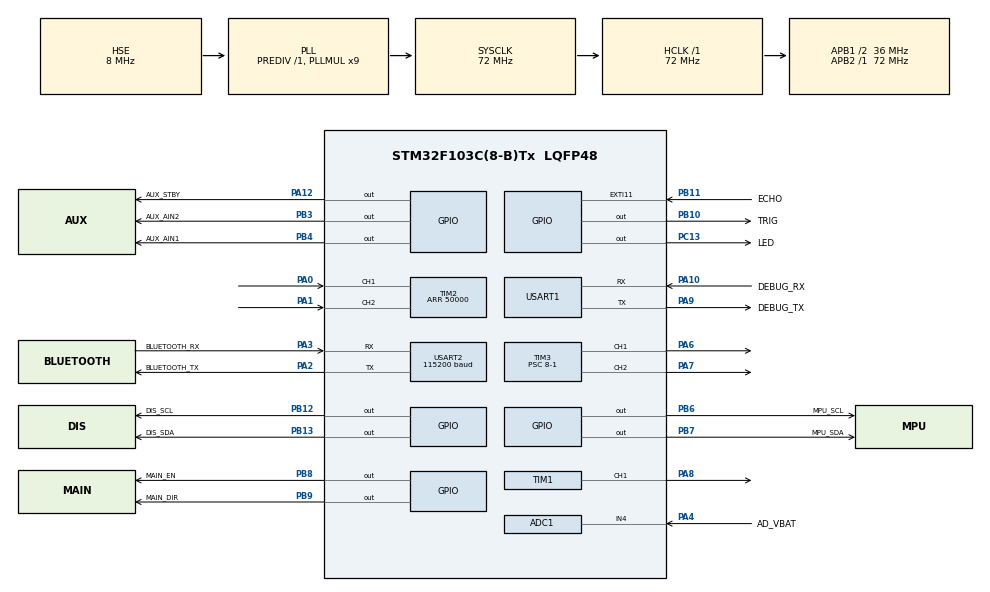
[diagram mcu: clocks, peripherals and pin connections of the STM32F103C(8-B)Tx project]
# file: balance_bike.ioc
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ADC1.Channel-2\#ChannelRegularConversion=ADC_CHANNEL_4
ADC1.ContinuousConvMode=ENABLE
ADC1.NbrOfConversion=1
ADC1.NbrOfConversionFlag=1
ADC1.Rank-2\#ChannelRegularConversion=1
ADC1.SamplingTime-2\#ChannelRegularConversion=ADC_SAMPLETIME_239CYCLES_5
ADC1.master=1
Dma.ADC1.3.Direction=DMA_PERIPH_TO_MEMORY
Dma.ADC1.3.Instance=DMA1_Channel1
Dma.ADC1.3.MemDataAlignment=DMA_MDATAALIGN_HALFWORD
Dma.ADC1.3.MemInc=DMA_MINC_ENABLE
Dma.ADC1.3.Mode=DMA_CIRCULAR
Dma.ADC1.3.PeriphDataAlignment=DMA_PDATAALIGN_HALFWORD
Dma.ADC1.3.PeriphInc=DMA_PINC_DISABLE
Dma.ADC1.3.Priority=DMA_PRIORITY_LOW
Dma.Request0=USART1_TX
Dma.Request1=USART2_TX
Dma.Request2=USART1_RX
Dma.Request3=ADC1
Dma.Request4=USART2_RX
Dma.USART1_RX.2.Direction=DMA_PERIPH_TO_MEMORY
Dma.USART1_RX.2.Instance=DMA1_Channel5
Dma.USART1_RX.2.MemDataAlignment=DMA_MDATAALIGN_BYTE
Dma.USART1_RX.2.MemInc=DMA_MINC_ENABLE
Dma.USART1_RX.2.Mode=DMA_CIRCULAR
Dma.USART1_RX.2.PeriphDataAlignment=DMA_PDATAALIGN_BYTE
Dma.USART1_RX.2.PeriphInc=DMA_PINC_DISABLE
Dma.USART1_RX.2.Priority=DMA_PRIORITY_LOW
Dma.USART1_TX.0.Direction=DMA_MEMORY_TO_PERIPH
Dma.USART1_TX.0.Instance=DMA1_Channel4
Dma.USART1_TX.0.MemDataAlignment=DMA_MDATAALIGN_BYTE
Dma.USART1_TX.0.MemInc=DMA_MINC_ENABLE
Dma.USART1_TX.0.Mode=DMA_NORMAL
Dma.USART1_TX.0.PeriphDataAlignment=DMA_PDATAALIGN_BYTE
Dma.USART1_TX.0.PeriphInc=DMA_PINC_DISABLE
Dma.USART1_TX.0.Priority=DMA_PRIORITY_HIGH
Dma.USART2_RX.4.Direction=DMA_PERIPH_TO_MEMORY
Dma.USART2_RX.4.Instance=DMA1_Channel6
Dma.USART2_RX.4.MemDataAlignment=DMA_MDATAALIGN_BYTE
Dma.USART2_RX.4.MemInc=DMA_MINC_ENABLE
Dma.USART2_RX.4.Mode=DMA_CIRCULAR
Dma.USART2_RX.4.PeriphDataAlignment=DMA_PDATAALIGN_BYTE
Dma.USART2_RX.4.PeriphInc=DMA_PINC_DISABLE
Dma.USART2_RX.4.Priority=DMA_PRIORITY_LOW
Dma.USART2_TX.1.Direction=DMA_MEMORY_TO_PERIPH
Dma.USART2_TX.1.Instance=DMA1_Channel7
Dma.USART2_TX.1.MemDataAlignment=DMA_MDATAALIGN_BYTE
Dma.USART2_TX.1.MemInc=DMA_MINC_ENABLE
Dma.USART2_TX.1.Mode=DMA_NORMAL
Dma.USART2_TX.1.PeriphDataAlignment=DMA_PDATAALIGN_BYTE
Dma.USART2_TX.1.PeriphInc=DMA_PINC_DISABLE
Dma.USART2_TX.1.Priority=DMA_PRIORITY_HIGH
FREERTOS.Queues01=MpuSensorQueue,1,uint32_t,0,Dynamic,NULL,NULL;EncoderQueue,16,uint16_t,0,Dynamic,NULL,NULL
FREERTOS.Tasks01=defaultTask,0,64,StartDefaultTask,Default,NULL,Dynamic,NULL,NULL;SensorSampleTask,2,128,StartSensorSampleTask,Default,NULL,Dynamic,NULL,NULL;ScatteredTask,-1,64,StartScatteredTask,Default,NULL,Dynamic,NULL,NULL;DebugTransferTask,-1,128,StartDebugTransferTask,Default,NULL,Dynamic,NULL,NULL;BluetoothTransferTask,0,128,StartBluetoothTransferTask,Default,NULL,Dynamic,NULL,NULL;ControllerTask,1,64,StartControllerTask,Default,NULL,Dynamic,NULL,NULL
FREERTOS.configMAX_TASK_NAME_LEN=32
FREERTOS.configMINIMAL_STACK_SIZE=64
FREERTOS.configTOTAL_HEAP_SIZE=4096
Mcu.Family=STM32F1
Mcu.Name=STM32F103C(8-B)Tx
Mcu.Package=LQFP48
NVIC.DMA1_Channel1_IRQn=true\:5\:0\:false\:false\:true\:true\:false\:true
NVIC.DMA1_Channel4_IRQn=true\:5\:0\:false\:false\:true\:true\:false\:true
NVIC.DMA1_Channel5_IRQn=true\:5\:0\:true\:false\:true\:true\:false\:true
NVIC.DMA1_Channel6_IRQn=true\:5\:0\:false\:false\:true\:true\:false\:true
NVIC.DMA1_Channel7_IRQn=true\:5\:0\:false\:false\:true\:true\:false\:true
NVIC.EXTI15_10_IRQn=true\:15\:0\:true\:false\:true\:true\:true\:true
NVIC.PriorityGroup=NVIC_PRIORITYGROUP_4
NVIC.TIM4_IRQn=true\:5\:0\:false\:false\:true\:true\:true\:true
NVIC.USART1_IRQn=true\:5\:0\:true\:false\:true\:true\:true\:true
NVIC.USART2_IRQn=true\:5\:0\:true\:false\:true\:true\:true\:true
PA0-WKUP.Signal=S_TIM2_CH1_ETR
PA1.Signal=S_TIM2_CH2
PA10.GPIO_Label=DEBUG_RX
PA10.Mode=Asynchronous
PA10.Signal=USART1_RX
PA12.GPIO_Label=AUX_STBY
PA12.Signal=GPIO_Output
PA13.Mode=Serial_Wire
PA13.Signal=SYS_JTMS-SWDIO
PA14.Mode=Serial_Wire
PA14.Signal=SYS_JTCK-SWCLK
PA2.GPIO_Label=BLUETOOTH_TX
PA2.Mode=Asynchronous
PA2.Signal=USART2_TX
PA3.GPIO_Label=BLUETOOTH_RX
PA3.Mode=Asynchronous
PA3.Signal=USART2_RX
PA4.GPIO_Label=AD_VBAT
PA4.Signal=SharedAnalog_PA4
PA6.Signal=S_TIM3_CH1
PA7.Signal=S_TIM3_CH2
PA8.Signal=S_TIM1_CH1
PA9.GPIO_Label=DEBUG_TX
PA9.Mode=Asynchronous
PA9.Signal=USART1_TX
PB10.GPIO_Label=TRIG
PB10.Signal=GPIO_Output
PB11.GPIO_Label=ECHO
PB11.Signal=GPXTI11
PB12.GPIO_Label=DIS_SCL
PB12.GPIO_ModeDefaultOutputPP=GPIO_MODE_OUTPUT_PP
PB12.GPIO_Speed=GPIO_SPEED_FREQ_HIGH
PB12.PinState=GPIO_PIN_RESET
PB12.Signal=GPIO_Output
PB13.GPIO_Label=DIS_SDA
PB13.GPIO_ModeDefaultOutputPP=GPIO_MODE_OUTPUT_PP
PB13.GPIO_Speed=GPIO_SPEED_FREQ_HIGH
PB13.PinState=GPIO_PIN_RESET
PB13.Signal=GPIO_Output
PB3.GPIO_Label=AUX_AIN2
PB3.Signal=GPIO_Output
PB4.GPIO_Label=AUX_AIN1
PB4.Signal=GPIO_Output
PB6.GPIO_Label=MPU_SCL
PB6.Signal=GPIO_Output
PB7.GPIO_Label=MPU_SDA
PB7.Signal=GPIO_Output
PB8.GPIO_Label=MAIN_EN
PB8.Signal=GPIO_Output
PB9.GPIO_Label=MAIN_DIR
PB9.Signal=GPIO_Output
PC13-TAMPER-RTC.GPIO_Label=LED
PC13-TAMPER-RTC.GPIO_ModeDefaultOutputPP=GPIO_MODE_OUTPUT_PP
PC13-TAMPER-RTC.GPIO_Speed=GPIO_SPEED_FREQ_HIGH
PC13-TAMPER-RTC.PinState=GPIO_PIN_SET
PC13-TAMPER-RTC.Signal=GPIO_Output
PD0-OSC_IN.Mode=HSE-External-Oscillator
PD0-OSC_IN.Signal=RCC_OSC_IN
PD1-OSC_OUT.Mode=HSE-External-Oscillator
PD1-OSC_OUT.Signal=RCC_OSC_OUT
ProjectManager.HeapSize=0x200
ProjectManager.StackSize=0x400
ProjectManager.TargetToolchain=MDK-ARM V5.32
RCC.ADCPresc=RCC_ADCPCLK2_DIV6
RCC.AHBFreq_Value=72000000
RCC.APB1CLKDivider=RCC_HCLK_DIV2
RCC.APB1Freq_Value=36000000
RCC.APB1TimFreq_Value=72000000
RCC.APB2Freq_Value=72000000
RCC.APB2TimFreq_Value=72000000
RCC.EnbaleCSS=true
RCC.HCLKFreq_Value=72000000
RCC.PLLMUL=RCC_PLL_MUL9
RCC.PLLSourceVirtual=RCC_PLLSOURCE_HSE
RCC.SYSCLKFreq_VALUE=72000000
RCC.SYSCLKSource=RCC_SYSCLKSOURCE_PLLCLK
RCC.USBFreq_Value=72000000
SH.S_TIM1_CH1.0=TIM1_CH1,PWM Generation1 CH1
SH.S_TIM2_CH1_ETR.0=TIM2_CH1,Encoder_Interface
SH.S_TIM2_CH2.0=TIM2_CH2,Encoder_Interface
SH.S_TIM3_CH1.0=TIM3_CH1,PWM Generation1 CH1
SH.S_TIM3_CH2.0=TIM3_CH2,PWM Generation2 CH2
SH.SharedAnalog_PA4.0=GPIO_Analog
SH.SharedAnalog_PA4.1=ADC2_IN4
SH.SharedAnalog_PA4.2=ADC1_IN4,IN4
TIM1.Channel-PWM\ Generation1\ CH1=TIM_CHANNEL_1
TIM1.Period=199
TIM1.Prescaler=7199
TIM2.EncoderMode=TIM_ENCODERMODE_TI12
TIM2.IC1Filter=6
TIM2.IC2Filter=6
TIM2.Period=50000
TIM3.AutoReloadPreload=TIM_AUTORELOAD_PRELOAD_DISABLE
TIM3.Channel-PWM\ Generation1\ CH1=TIM_CHANNEL_1
TIM3.Channel-PWM\ Generation2\ CH2=TIM_CHANNEL_2
TIM3.OCMode_PWM-PWM\ Generation1\ CH1=TIM_OCMODE_PWM2
TIM3.OCMode_PWM-PWM\ Generation2\ CH2=TIM_OCMODE_PWM1
TIM3.Period=2000-1
TIM3.Prescaler=8-1
TIM3.Pulse-PWM\ Generation1\ CH1=0
TIM3.Pulse-PWM\ Generation2\ CH2=0
TIM4.Period=50000
TIM4.Prescaler=72-1
USART1.VirtualMode=VM_ASYNC
USART2.BaudRate=115200
USART2.VirtualMode=VM_ASYNC
VP_FREERTOS_VS_CMSIS_V1.Mode=CMSIS_V1
VP_TIM4_VS_ClockSourceINT.Mode=Internal
board=custom

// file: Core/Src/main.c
/* USER CODE BEGIN Header */
/**
  ******************************************************************************
  * @file           : main.c
  * @brief          : Main program body
  ******************************************************************************
  * @attention
  *
  * <h2><center>&copy; Copyright (c) 2021 STMicroelectronics.
  * All rights reserved.</center></h2>
  *
  * This software component is licensed by ST under Ultimate Liberty license
  * SLA0044, the "License"; You may not use this file except in compliance with
  * the License. You may obtain a copy of the License at:
  *                             www.st.com/SLA0044
  *
  ******************************************************************************
  */
/* USER CODE END Header */
#include "main.h"
#include "cmsis_os.h"
#include "adc.h"
#include "dma.h"
#include "tim.h"
#include "usart.h"
#include "gpio.h"

/* USER CODE BEGIN Includes */
#include "mpu6050.h"
#include "stdio.h"
#include "oled.h"
#include "display.h"
#include "pid.h"
#include "controller.h"
#include "soft_iic.h"
#include "led.h"
#include "imath.h"
/* USER CODE END Includes */

void SystemClock_Config(void);
void MX_FREERTOS_Init(void);

int main(void)
{

  /* MCU Configuration--------------------------------------------------------*/

  /* Reset of all peripherals, Initializes the Flash interface and the Systick. */
  HAL_Init();

  /* Configure the system clock */
  SystemClock_Config();

  /* Initialize all configured peripherals */
  MX_GPIO_Init();
  MX_DMA_Init();
  MX_ADC1_Init();
  MX_USART1_UART_Init();
  MX_USART2_UART_Init();
  MX_TIM3_Init();
  MX_TIM2_Init();
  MX_TIM1_Init();
  MX_TIM4_Init();
  /* USER CODE BEGIN 2 */
  HAL_TIM_PWM_Start(&htim3,TIM_CHANNEL_1 );             //开启定时器3的通道1的PWM  动量平衡使用
  HAL_TIM_PWM_Start(&htim3,TIM_CHANNEL_2 );             //开启定时器3的通道2的PWM  前进后退使用
  HAL_TIM_PWM_Start(&htim1,TIM_CHANNEL_1 );             //开启定时器1的通道1的PWM  舵机转向控制使用

  soft_iic_init();                                      //IIC端口初始化
  mpu6050_init();                                       //MPU6050初始化

  /* mpu6050模块在位检测 BEGIN */
  led_set(RUN_LED,100, 50,0);
	uint16_t ticks = 100;
  while(1) {																						/* mpu6050模块在位检测 BEGIN */
    if( MPU6050ReadID() != 1 ){
      HAL_GPIO_TogglePin(LED_GPIO_Port,LED_Pin);
      delay(8);
      printf("mpu6050 err! please check...\r\n");
			if( (ticks--) < 5 ){
				break;																					/* 超时退出 */
			}
    }
		else{
			break;
		}
  }
  /* mpu6050模块在位检测 END */

  get_iir_factor(&Mpu.att_acc_factor,0.005f,25);   	    //姿态解算时加速度低通系数

  readCalData();                                        //上电开机读取一次写入到内存里面的陀螺仪校准数据
  DISplay_Init();			                                  //初始化OLED
  DISplay_Clear();                                      //OLED清屏
  all_pid_init();                                       //pid参数初始化
  mainMotorEN();                                        //飞轮电机使能
  EnableAuxMotor();                                     //前进后退电机使能

  /* USER CODE END 2 */

  /* Call init function for freertos objects (in freertos.c) */
  MX_FREERTOS_Init();
  /* Start scheduler */
  osKernelStart();

  /* We should never get here as control is now taken by the scheduler */
  /* Infinite loop */
  while (1)
  {

  }
}

void SystemClock_Config(void)
{
  RCC_OscInitTypeDef RCC_OscInitStruct = {0};
  RCC_ClkInitTypeDef RCC_ClkInitStruct = {0};
  RCC_PeriphCLKInitTypeDef PeriphClkInit = {0};

  /** Initializes the RCC Oscillators according to the specified parameters
  * in the RCC_OscInitTypeDef structure.
  */
  RCC_OscInitStruct.OscillatorType = RCC_OSCILLATORTYPE_HSE;
  RCC_OscInitStruct.HSEState = RCC_HSE_ON;
  RCC_OscInitStruct.HSEPredivValue = RCC_HSE_PREDIV_DIV1;
  RCC_OscInitStruct.HSIState = RCC_HSI_ON;
  RCC_OscInitStruct.PLL.PLLState = RCC_PLL_ON;
  RCC_OscInitStruct.PLL.PLLSource = RCC_PLLSOURCE_HSE;
  RCC_OscInitStruct.PLL.PLLMUL = RCC_PLL_MUL9;
  if (HAL_RCC_OscConfig(&RCC_OscInitStruct) != HAL_OK)
  {
    Error_Handler();
  }
  /** Initializes the CPU, AHB and APB buses clocks
  */
  RCC_ClkInitStruct.ClockType = RCC_CLOCKTYPE_HCLK|RCC_CLOCKTYPE_SYSCLK
                              |RCC_CLOCKTYPE_PCLK1|RCC_CLOCKTYPE_PCLK2;
  RCC_ClkInitStruct.SYSCLKSource = RCC_SYSCLKSOURCE_PLLCLK;
  RCC_ClkInitStruct.AHBCLKDivider = RCC_SYSCLK_DIV1;
  RCC_ClkInitStruct.APB1CLKDivider = RCC_HCLK_DIV2;
  RCC_ClkInitStruct.APB2CLKDivider = RCC_HCLK_DIV1;

  if (HAL_RCC_ClockConfig(&RCC_ClkInitStruct, FLASH_LATENCY_2) != HAL_OK)
  {
    Error_Handler();
  }
  PeriphClkInit.PeriphClockSelection = RCC_PERIPHCLK_ADC;
  PeriphClkInit.AdcClockSelection = RCC_ADCPCLK2_DIV6;
  if (HAL_RCCEx_PeriphCLKConfig(&PeriphClkInit) != HAL_OK)
  {
    Error_Handler();
  }
  /** Enables the Clock Security System
  */
  HAL_RCC_EnableCSS();
}

void Error_Handler(void)
{
  __disable_irq();
  while (1)
  {
  }
}

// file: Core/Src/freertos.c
/* USER CODE BEGIN Header */
/**
  ******************************************************************************
  * File Name          : freertos.c
  * Description        : Code for freertos applications
  ******************************************************************************
  * @attention
  *
  * <h2><center>&copy; Copyright (c) 2021 STMicroelectronics.
  * All rights reserved.</center></h2>
  *
  * This software component is licensed by ST under Ultimate Liberty license
  * SLA0044, the "License"; You may not use this file except in compliance with
  * the License. You may obtain a copy of the License at:
  *                             www.st.com/SLA0044
  *
  ******************************************************************************
  */
/* USER CODE END Header */

#include "FreeRTOS.h"
#include "task.h"
#include "main.h"
#include "cmsis_os.h"

/* USER CODE BEGIN Includes */
#include "usart.h"
#include "mpu6050.h"
#include "stdio.h"
#include "imath.h"
#include "imu.h"
#include "ano.h"
#include "flash.h"
#include "adc.h"
#include "tim.h"
#include "led.h"
#include "display.h"
#include "encoder.h"
#include "pid.h"
#include "bluetooth.h"
#include "controller.h"
#include "ultrasonic.h"
/* USER CODE END Includes */

osThreadId defaultTaskHandle;
osThreadId SensorSampleTaskHandle;
osThreadId ScatteredTaskHandle;
osThreadId DebugTransferTaskHandle;
osThreadId BluetoothTransferTaskHandle;
osThreadId ControllerTaskHandle;
osMessageQId MpuSensorQueueHandle;
osMessageQId EncoderQueueHandle;

void StartDefaultTask(void const * argument);
void StartSensorSampleTask(void const * argument);
void StartScatteredTask(void const * argument);
void StartDebugTransferTask(void const * argument);
void StartBluetoothTransferTask(void const * argument);
void StartControllerTask(void const * argument);

void MX_FREERTOS_Init(void); /* (MISRA C 2004 rule 8.1) */

/* GetIdleTaskMemory prototype (linked to static allocation support) */
void vApplicationGetIdleTaskMemory( StaticTask_t **ppxIdleTaskTCBBuffer, StackType_t **ppxIdleTaskStackBuffer, uint32_t *pulIdleTaskStackSize );

/* USER CODE BEGIN GET_IDLE_TASK_MEMORY */
static StaticTask_t xIdleTaskTCBBuffer;
static StackType_t xIdleStack[configMINIMAL_STACK_SIZE];

void vApplicationGetIdleTaskMemory( StaticTask_t **ppxIdleTaskTCBBuffer, StackType_t **ppxIdleTaskStackBuffer, uint32_t *pulIdleTaskStackSize )
{
  *ppxIdleTaskTCBBuffer = &xIdleTaskTCBBuffer;
  *ppxIdleTaskStackBuffer = &xIdleStack[0];
  *pulIdleTaskStackSize = configMINIMAL_STACK_SIZE;
  /* place for user code */
}
/* USER CODE END GET_IDLE_TASK_MEMORY */

void MX_FREERTOS_Init(void) {

  /* Create the queue(s) */
  /* definition and creation of MpuSensorQueue */
  osMessageQDef(MpuSensorQueue, 1, uint32_t);
  MpuSensorQueueHandle = osMessageCreate(osMessageQ(MpuSensorQueue), NULL);

  /* definition and creation of EncoderQueue */
  osMessageQDef(EncoderQueue, 16, uint16_t);
  EncoderQueueHandle = osMessageCreate(osMessageQ(EncoderQueue), NULL);

  /* Create the thread(s) */
  /* definition and creation of defaultTask */
  osThreadDef(defaultTask, StartDefaultTask, osPriorityNormal, 0, 64);
  defaultTaskHandle = osThreadCreate(osThread(defaultTask), NULL);

  /* definition and creation of SensorSampleTask */
  osThreadDef(SensorSampleTask, StartSensorSampleTask, osPriorityHigh, 0, 128);
  SensorSampleTaskHandle = osThreadCreate(osThread(SensorSampleTask), NULL);

  /* definition and creation of ScatteredTask */
  osThreadDef(ScatteredTask, StartScatteredTask, osPriorityBelowNormal, 0, 64);
  ScatteredTaskHandle = osThreadCreate(osThread(ScatteredTask), NULL);

  /* definition and creation of DebugTransferTask */
  osThreadDef(DebugTransferTask, StartDebugTransferTask, osPriorityBelowNormal, 0, 128);
  DebugTransferTaskHandle = osThreadCreate(osThread(DebugTransferTask), NULL);

  /* definition and creation of BluetoothTransferTask */
  osThreadDef(BluetoothTransferTask, StartBluetoothTransferTask, osPriorityNormal, 0, 128);
  BluetoothTransferTaskHandle = osThreadCreate(osThread(BluetoothTransferTask), NULL);

  /* definition and creation of ControllerTask */
  osThreadDef(ControllerTask, StartControllerTask, osPriorityAboveNormal, 0, 64);
  ControllerTaskHandle = osThreadCreate(osThread(ControllerTask), NULL);

}

void StartDefaultTask(void const * argument)
{
  /* USER CODE BEGIN StartDefaultTask */
  led_set(RUN_LED,100, 50,0);

  /* Infinite loop */
  for(;;)
  {
    led_operation(&run_led);
		(void)ultraCheck();
    adcINFO.VbatOrg = read_ADC_voltagedata();                           //获取原始ADC值
    adcINFO.Voltage = (float)adcINFO.VbatOrg * 3.3f / 4096.0f * 11.0f ; //11.0为实际电路中电阻分压比1:10之和
    osDelay(10);
  }
  /* USER CODE END StartDefaultTask */
}

void StartSensorSampleTask(void const * argument)
{
  /* USER CODE BEGIN StartSensorSampleTask */
	ultrasonic.ultraIsOk = 1;
  /* Infinite loop */
  for(;;)
  {
    get_acc_raw();                                                //读取加速度原始数据
    get_gyro_raw();                                               //读取陀螺仪原始数据
    get_deg_s(&gyro_raw_f,&Mpu.deg_s);                            //陀螺仪原始数据转为度为单位的速率
    get_rad_s(&gyro_raw_f,&Mpu.rad_s);                            //陀螺仪原始数据转为弧度为单位的速率
    get_acc_raw();                                                //加速度数据
    acc_iir_lpf(&acc_raw_f,&acc_att_lpf,Mpu.att_acc_factor);      //姿态解算时加速度低通滤波
    get_acc_g(&acc_att_lpf,&Mpu.acc_g);                           //将加速度数据转为以g为单位的加速度数据
    mahony_update(Mpu.rad_s.x,Mpu.rad_s.y,Mpu.rad_s.z,Mpu.acc_g.x,Mpu.acc_g.y,Mpu.acc_g.z);
    Matrix_ready();                                               //姿态解算相关矩阵更新

    readEncoderValue();                                           //飞轮电机编码器值读取及处理
    _controller_perform();                                        //三环串级PID控制器
    _controller_output();                                         //控制器输出配置
    gyro_cal(&gyro_raw_cal);                                      //陀螺仪零偏校准
    osDelay(5);
  }
  /* USER CODE END StartSensorSampleTask */
}

void StartScatteredTask(void const * argument)
{
  /* USER CODE BEGIN StartScatteredTask */

  DISplay_ShowString(0,0,"rol:",12);                              //字符显示
  DISplay_ShowString(0,1,"des:",12);                              //字符显示
  DISplay_ShowString(0,2,"dirBASE:",12);                          //字符显示
  DISplay_ShowString(0,3,"dirADJUST:",12);                        //字符显示
  DISplay_ShowString(0,4,"encoder:",12);                          //字符显示
	DISplay_ShowString(0,5,"dis:",12);                          		//字符显示
  /* Infinite loop */
  for(;;)
  {

    DISplay_ShowFolatNum(80,0,att.rol,5,12);                      //横滚角度rol显示
    DISplay_ShowFolatNum(80,1,Mpu.deg_s.y,5,12);                  //y轴角速度显示
    DISplay_ShowFolatNum(80,2,dirBASE,5,12);                      //舵机方向基值
    DISplay_ShowFolatNum(80,3,dirADJUST,5,12);                    //舵机方向微调值
    DISplay_ShowFolatNum(80,4,encoderINFO.mainNumberValue,5,12);  //编码速度值
		DISplay_ShowFolatNum(80,5,ultrasonic.distance,5,12);  				//超声波距离
    osDelay(40);
  }
  /* USER CODE END StartScatteredTask */
}

void StartDebugTransferTask(void const * argument)
{
  /* USER CODE BEGIN StartDebugTransferTask */
  /* Infinite loop */
  for(;;)
  {
    Usart_RecvData();                                               //接收上位机数据处理
    ANO_DMA_SEND_DATA();                                            //向上位机发送数据
    osDelay(10);
  }
  /* USER CODE END StartDebugTransferTask */
}

void StartBluetoothTransferTask(void const * argument)
{
  /* USER CODE BEGIN StartBluetoothTransferTask */
  /* Infinite loop */
  for(;;)
  {
    Bluetooth_RecvData();                                             //接收蓝牙数据处理
    UploadMsg_MpuData();                                              //向蓝牙app上传数据
    osDelay(80);
  }
  /* USER CODE END StartBluetoothTransferTask */
}

void StartControllerTask(void const * argument)
{
  /* USER CODE BEGIN StartControllerTask */
  /* Infinite loop */
  for(;;)
  {
		ultrasonic_startMeasure();
    osDelay(20);
  }
  /* USER CODE END StartControllerTask */
}
